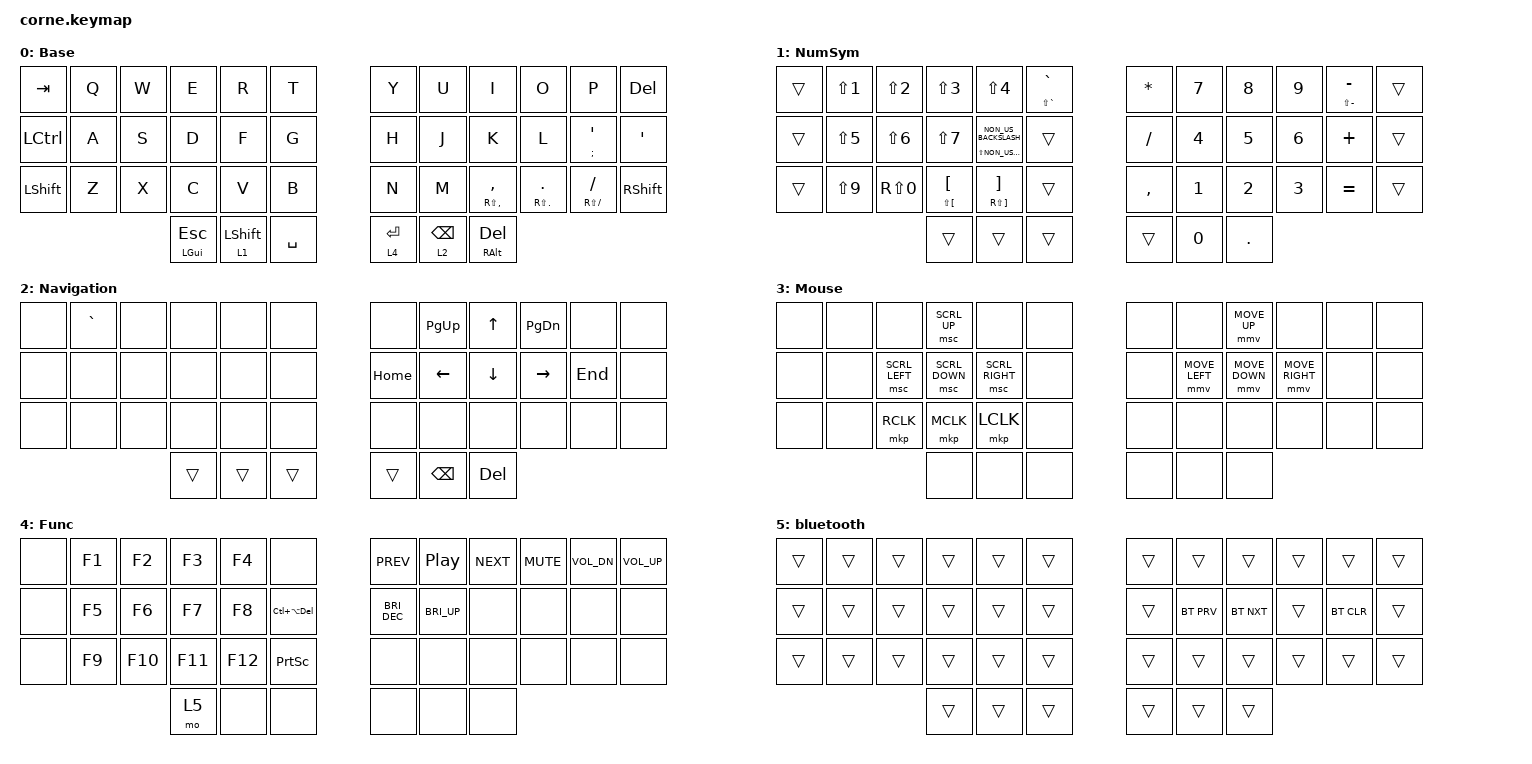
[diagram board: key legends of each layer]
/*
 * Copyright (c) 2020 The ZMK Contributors
 *
 * SPDX-License-Identifier: MIT
 */

#include <behaviors.dtsi>
#include <dt-bindings/zmk/keys.h>
#include <dt-bindings/zmk/bt.h>
#include <dt-bindings/zmk/outputs.h>
#include <dt-bindings/zmk/ext_power.h>
#include <dt-bindings/zmk/reset.h>
#include <dt-bindings/zmk/pointing.h>

&lt {
    flavor = "hold-preferred";
    tapping-term-ms = <200>;
    quick-tap-ms = <200>;
    hold-while-undecided;
    hold-trigger-on-release;
};

/ {
    combos {
        compatible = "zmk,combos";

        Caps {
            bindings = <&kp CAPSLOCK>;
            key-positions = <24 35>;
        };

        Capword {
            bindings = <&caps_word>;
            key-positions = <37 40>;
        };
    };

    behaviors {
        auto_shift: as {
            compatible = "zmk,behavior-hold-tap";
            label = "as";
            bindings = <&kp>, <&kp>;

            #binding-cells = <2>;
            flavor = "tap-preferred";
            tapping-term-ms = <250>;
            quick-tap-ms = <200>;
        };

        mt_tap: mt_tap {
            compatible = "zmk,behavior-hold-tap";
            label = "MT_TAP";
            bindings = <&kp>, <&kp>;

            #binding-cells = <2>;
            tapping-term-ms = <200>;
            flavor = "tap-preferred";
        };

        mt_hold_while_undecided: mt_hold_while_undecided {
            compatible = "zmk,behavior-hold-tap";
            label = "MT_HOLD_WHILE_UNDECIDED";
            bindings = <&kp>, <&kp>;

            #binding-cells = <2>;
            tapping-term-ms = <200>;
            hold-while-undecided;
            hold-trigger-on-release;
        };

        lt_tap: lt_tap {
            compatible = "zmk,behavior-hold-tap";
            label = "LT_TAP";
            bindings = <&mo>, <&kp>;

            #binding-cells = <2>;
            tapping-term-ms = <200>;
            flavor = "tap-preferred";
        };

        os: oneshot {
            compatible = "zmk,behavior-sticky-key";
            label = "ONESHOT";
            bindings = <&kp>;
            #binding-cells = <1>;
            release-after-ms = <1000>;
            quick-release;
            ignore-modifiers;
        };

        lo_bal: layer_oneshot_tap {
            compatible = "zmk,behavior-hold-tap";
            label = "Layer Oneshot Tap";
            bindings = <&mo>, <&os>;

            #binding-cells = <2>;
            tapping-term-ms = <200>;
            quick-tap-ms = <200>;
            flavor = "balanced";
            hold-while-undecided;
        };

        scl: shift_caps_layer {
            compatible = "zmk,behavior-tap-dance";
            label = "SHIFT_CAPS_LAYER";
            #binding-cells = <0>;
            bindings = <&lo_bal 1 LEFT_SHIFT>, <&caps_word>;

            tapping-term-ms = <300>;
        };

        lo_hold: layer_oneshot_hold {
            compatible = "zmk,behavior-hold-tap";
            label = "Layer Oneshot Hold";
            bindings = <&mo>, <&os>;

            #binding-cells = <2>;
            tapping-term-ms = <200>;
            quick-tap-ms = <200>;
            flavor = "hold-preferred";
            hold-while-undecided;
        };
    };

    keymap {
        compatible = "zmk,keymap";

        Base {
            // -----------------------------------------------------------------------------------------
            // |  TAB |  Q  |  W  |  E  |  R  |  T  |   |  Y  |  U   |  I  |  O  |  P  | BKSP |
            // | CTRL |  A  |  S  |  D  |  F  |  G  |   |  H  |  J   |  K  |  L  |  ;  |  '   |
            // | SHFT |  Z  |  X  |  C  |  V  |  B  |   |  N  |  M   |  ,  |  .  |  /  | ESC  |
            //                    | GUI | LWR | SPC |   | ENT | RSE  | ALT |

            display-name = "Base";
            bindings = <
&kp TAB         &kp Q  &kp W  &kp E                                  &kp R                 &kp T        &kp Y            &kp U            &kp I                        &kp O                          &kp P                       &kp DELETE
&kp LCTRL       &kp A  &kp S  &kp D                                  &kp F                 &kp G        &kp H            &kp J            &kp K                        &kp L                          &auto_shift SEMI APOS       &kp APOS
&kp LEFT_SHIFT  &kp Z  &kp X  &kp C                                  &kp V                 &kp B        &kp N            &kp M            &auto_shift RS(COMMA) COMMA  &auto_shift RS(PERIOD) PERIOD  &auto_shift RS(FSLH) SLASH  &kp RIGHT_SHIFT
                              &mt_hold_while_undecided LEFT_GUI ESC  &lo_bal 1 LEFT_SHIFT  &kp SPACE    &lt_tap 4 ENTER  &lt 2 BACKSPACE  &mt_tap RIGHT_ALT DEL
            >;

            label = "Base";
        };

        NumSym {
            // -----------------------------------------------------------------------------------------
            // |  TAB |  1  |  2  |  3  |  4  |  5  |   |  6  |  7  |  8  |  9  |  0  | BKSP |
            // | BTCLR| BT1 | BT2 | BT3 | BT4 | BT5 |   | LFT | DWN |  UP | RGT |     |      |
            // | SHFT |     |     |     |     |     |   |     |     |     |     |     |      |
            //                    | GUI |     | SPC |   | ENT |     | ALT |

            display-name = "NumSym";
            bindings = <
&trans  &kp LS(N1)  &kp LS(N2)        &kp LS(N3)                                 &kp LS(N4)                                         &auto_shift LS(GRAVE) GRAVE    &kp ASTERISK  &kp N7        &kp N8        &kp N9        &auto_shift LS(MINUS) MINUS  &trans
&trans  &kp LS(N5)  &kp LS(NUMBER_6)  &kp LS(N7)                                 &auto_shift LS(NON_US_BACKSLASH) NON_US_BACKSLASH  &trans                         &kp SLASH     &kp NUMBER_4  &kp N5        &kp NUMBER_6  &kp PLUS                     &trans
&trans  &kp LS(N9)  &kp RS(N0)        &auto_shift LS(LEFT_BRACKET) LEFT_BRACKET  &auto_shift RS(RIGHT_BRACKET) RIGHT_BRACKET        &trans                         &kp COMMA     &kp NUMBER_1  &kp NUMBER_2  &kp NUMBER_3  &kp EQUAL                    &trans
                                      &trans                                     &trans                                             &trans                         &trans        &kp N0        &kp PERIOD
            >;
        };

        Nav {
            // -----------------------------------------------------------------------------------------
            // |  TAB |  !  |  @  |  #  |  $  |  %  |   |  ^  |  &  |  *  |  (  |  )  | BKSP |
            // | CTRL |     |     |     |     |     |   |  -  |  =  |  [  |  ]  |  \  |  `   |
            // | SHFT |     |     |     |     |     |   |  _  |  +  |  {  |  }  | "|" |  ~   |
            //                    | GUI |     | SPC |   | ENT |     | ALT |

            display-name = "Navigation";
            bindings = <
&none  &kp GRAVE  &none  &none   &none   &none     &none     &kp PAGE_UP     &kp UP_ARROW    &kp PAGE_DOWN  &none    &none
&none  &none      &none  &none   &none   &none     &kp HOME  &kp LEFT_ARROW  &kp DOWN_ARROW  &kp RIGHT      &kp END  &none
&none  &none      &none  &none   &none   &none     &none     &none           &none           &none          &none    &none
                         &trans  &trans  &trans    &trans    &kp BACKSPACE   &kp DEL
            >;

            label = "Nav";
        };

        Mouse {
            bindings = <
&none  &none  &none           &msc SCRL_UP    &none            &none    &none  &none           &mmv MOVE_UP    &none            &none  &none
&none  &none  &msc SCRL_LEFT  &msc SCRL_DOWN  &msc SCRL_RIGHT  &none    &none  &mmv MOVE_LEFT  &mmv MOVE_DOWN  &mmv MOVE_RIGHT  &none  &none
&none  &none  &mkp RCLK       &mkp MCLK       &mkp LCLK        &none    &none  &none           &none           &none            &none  &none
                              &none           &none            &none    &none  &none           &none
            >;

            label = "Mouse";
        };

        Function {
            bindings = <
&none  &kp F1  &kp F2   &kp F3   &kp F4   &none                 &kp C_PREV            &kp C_PLAY_PAUSE  &kp C_NEXT  &kp C_MUTE  &kp C_VOL_DN  &kp C_VOLUME_UP
&none  &kp F5  &kp F6   &kp F7   &kp F8   &kp LC(LA(DELETE))    &kp C_BRIGHTNESS_DEC  &kp C_BRI_UP      &none       &none       &none         &none
&none  &kp F9  &kp F10  &kp F11  &kp F12  &kp PRINTSCREEN       &none                 &none             &none       &none       &none         &none
                        &mo 5    &none    &none                 &none                 &none             &none
            >;

            label = "Func";
        };

        Bluetooth {
            bindings = <
&trans  &trans  &trans  &trans  &trans  &trans    &trans  &trans      &trans      &trans  &trans      &trans
&trans  &trans  &trans  &trans  &trans  &trans    &trans  &bt BT_PRV  &bt BT_NXT  &trans  &bt BT_CLR  &trans
&trans  &trans  &trans  &trans  &trans  &trans    &trans  &trans      &trans      &trans  &trans      &trans
                        &trans  &trans  &trans    &trans  &trans      &trans
            >;

            label = "bluetooth";
        };
    };
};
